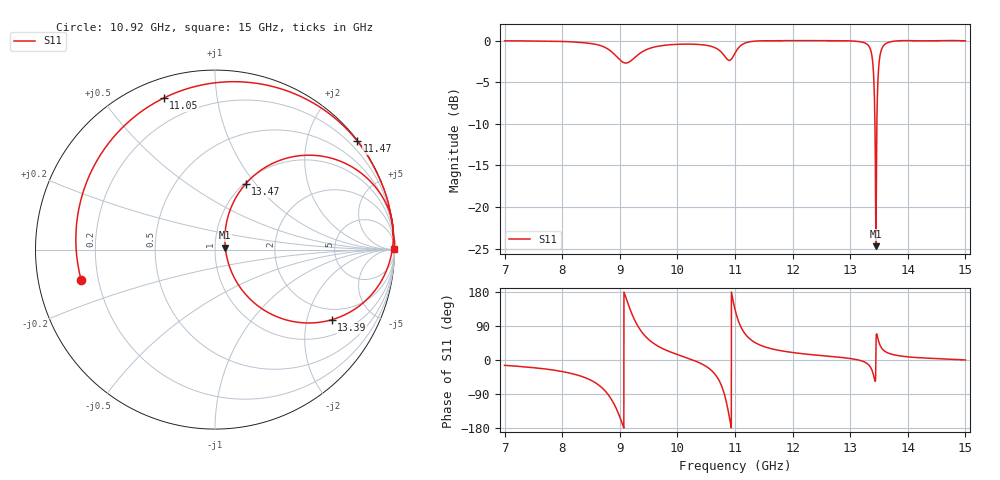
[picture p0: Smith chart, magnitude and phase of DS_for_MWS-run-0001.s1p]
! TOUCHSTONE file generated by CST DESIGN STUDIO
! Date and time: Mon Feb 10 16:44:05 2025
! Project name: C:\Work\MatlabApps\UnitCellType2OptimizationMatlab\CST\unitcell.cst
! Tree item: Tasks\Sweep1\SPara1\S-Parameters
! Header version: 2024
! Port assignment regex: !\s*Touchstone port\s*([0-9]+)\s*=\s*(CST MWS port|CST DES external port|CST DES block port)\s*(.+)\s* \(\"(.*)\"\)(\s*mode\s*([0-9]+))?.*
! Touchstone port assignment:
! Touchstone port 1 = CST DES external port 1 ("")
# GHz S MA R 50
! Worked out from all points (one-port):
!   4001 points, 7 GHz to 15 GHz, reference 50 ohm
!   lowest |S11| = -24.7 dB at 13.45 GHz (marker M1), VSWR 1.12, Z = 56.1 + j1.14 ohm
!   |S11| at or under -10 dB: 13.42935 GHz to 13.46239 GHz (33.04 MHz wide, 0.246 % of centre)
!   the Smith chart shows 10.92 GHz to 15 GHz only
!   S11 on the Smith chart (normalised r, x): 10.92 GHz: 0.13, -0.11; 11.05 GHz: 0.09, +0.71; 11.47 GHz: 0.02, +2.95; 13.39 GHz: 1.54, -2.84; 13.47 GHz: 1.02, +0.89; 15 GHz: open
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7  0.9963 -14.1
8  0.9885 -30.5
8.472  0.9628 -51.4
8.76  0.904 -84.2
8.888  0.8384 -112.7
9  0.7663 -150.3
9.126  0.7347 155.6
9.308  0.8177 90.9
9.578  0.911 44.8
10  0.9498 14.4
10.632  0.9124 -33.8
10.732  0.8715 -56.4
10.816  0.8106 -90.5
10.922  0.7647 -167.3
11  0.8409 133.6
11.046  0.8913 108.7
11.214  0.9762 62.0
11.466  0.9969 37.5
12  0.9996 19.8
13  0.9959 3.9
13.294  0.9505 -9.3
13.388  0.759 -31.0
13.446  0.05827 10.0
13.468  0.4049 65.0
13.514  0.7996 40.4
13.6  0.9486 23.2
14  0.9998 8.3
15  0.9969 0.1
